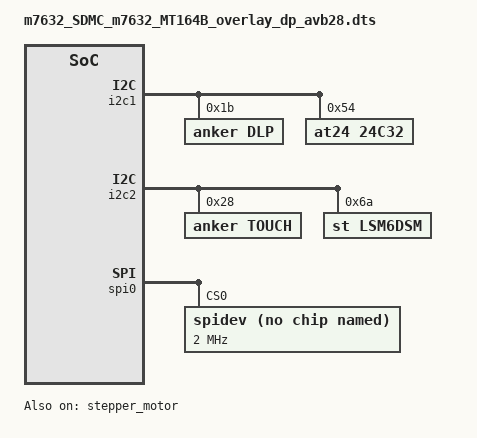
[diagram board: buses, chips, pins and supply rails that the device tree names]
/dts-v1/;
/plugin/;
/include/ "overlay_avb_SysAsRoot.dtsi"

//// {
 //   fragment@0 {
 //       target = <&i2c1>;
 ////       __overlay__ {
 //           compatible = "mstar,swi2c";
//			sda-gpio = <82>;   
//			scl-gpio = <81>;
			//iic-mode = <1>;     /* i2c-mode: 0:swi2c; 1:hwi2c */
//			//pad-mux = <0>;      /* hwi2c setting: pad mux */
 //       };
 //   };
//};

&mali_gop_dma {
	heaptype = <0>;
	max_size = <0x0 0x8000000>;
	normal_zone = <0>;
};


&i2c1 {
	sda-gpio = <82>;   
	scl-gpio = <81>;
	iic-mode = <1>;     /* i2c-mode: 0:swi2c; 1:hwi2c */
	pad-mux = <0>;      /* hwi2c setting: pad mux */
};
&i2c1 {
	dlp:dlp@1b{
		compatible = "anker, dlp";
		reg = <0x1b>;
		status = "okay";
	};
	at24: at24@54 {
		compatible = "at24,24c32";
		status = "okay";
		reg = <0x54>;
	};
};
&i2c2 {
	iic-mode = <1>;     /* i2c-mode: 0:swi2c; 1:hwi2c */
	bus-index = <2>;    /* swi2c setting: bus index */
	sda-gpio = <64>;   /* swi2c setting: sda pad */
	scl-gpio = <63>;   /* swi2c setting: scl pad */
	def-delay = <100>;  /* swi2c setting: clk */
	hw-port = <2>;      /* hwi2c setting: port */
	pad-mux = <19>;      /* hwi2c setting: pad mux */
	speed-khz = <100>;  /* hwi2c setting: clk */
	retries = <5>;      /* Unused */
	status = "okay";    /* Unused */

	touch:touch@28{
		compatible = "anker,touch";
		reg = <0x28>;
		touch_irq = <133>;
 		status = "okay";
 	};
	lsm6dsm:lsm6dsm@6a {
		compatible = "st,lsm6dsm";
		reg = <0x6a>;
		int-gpio = <95>;
		st,drdy-int-pin = <1>;
		status = "okay";
	};
};
&stepper_motor {
	compatible = "anker, motor";
		dev_name = "motor";
		status = "okay";
		
		m_gpio0 =  <146>;
		m_gpio1 =  <147>;
		m_gpio2 =  <148>;
		m_gpio3 =  <149>;

		m_place0 =  <152>;
		m_place1 =  <144>;
	};

&mmc_host_sdio {
	sdio-padmux = <0>;
};
&spi0 {
	compatible = "mstar,mstar-mspi";
	reg = <0 0 0x2A7400 0x1000>;
    interrupts = <43>;
    mspi_channel = <0>;
	#address-cells = <1>;
	#size-cells = <0>;
	status = "okay";
	spidev@1{
		compatible = "spidev";
		reg = <0x0>;
		spi-max-frequency = <2000000>;
	};
};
